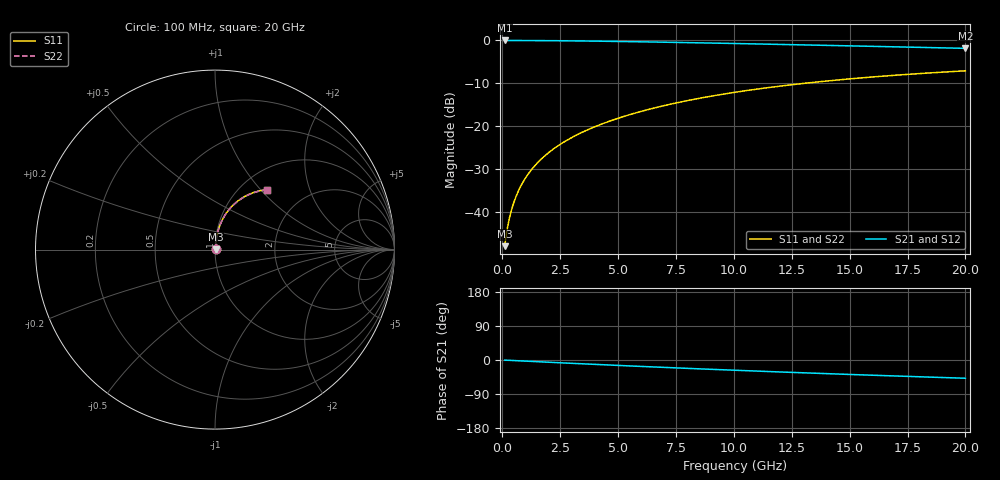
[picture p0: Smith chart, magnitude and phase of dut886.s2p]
! Touchstone file exported from HFSS 2024.1.0
!  File:  C:/UserFiles/LocalFiles/RDL_TSV_Batchsim/temp_RDL_top_886_1779857028.aedt
!  Generated:  12:46:13 PM May 27, 2026
!  Design:  RDL_top
!  Project:  temp_RDL_top_886_1779857028
!  Setup:  Setup1
!  Solution:  Sweep
! Variables:
!  dtsv = 10.80580581um
!  hbump = 3um
!  htsv = 67.46um
!  ldown = 100um
!  lrdl = 678.49um
!  p = 40
!  p1 = 52.99um
!  rhole = 1um
!  t = 450um
!  tdown = 3.915915916um
!  trdl = 4.3um
!  wdown = 15.38538539um
!  wrdl = 19.41um
# GHz S MA R 50.000000
! Terminal data exported
! Port[1] = Box2_T1
! Port[2] = Box2_T2
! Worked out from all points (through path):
!   200 points, 100 MHz to 20 GHz, reference 50 ohm
!   highest |S21| = -0.03 dB at 100 MHz (marker M1); lowest = -1.9 dB at 20 GHz (marker M2)
!   group delay of S21, straight-line fit = 6.65 ps
!   lowest |S11| = -47.9 dB at 100 MHz (marker M3), VSWR 1.01, Z = 50.3 + j0.264 ohm
!   |S11| at or under -10 dB: start of sweep to 13.06 GHz
!   |S22| runs from -47.9 to -7.1 dB; largest |S21 - S12| = 2.3e-14
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0.1  0.004004 41.0  0.997 -0.3  0.997 -0.3  0.004004 41.0
! Gamma 0 0 0 0
! Port Impedance 50 0 50 0
0.2  0.006067 58.4  0.9968 -0.6  0.9968 -0.6  0.006067 58.4
0.3  0.008333 66.4  0.9966 -0.9  0.9966 -0.9  0.008334 66.4
0.4  0.01064 70.9  0.9964 -1.2  0.9964 -1.2  0.01065 70.9
0.5  0.01298 73.8  0.9962 -1.5  0.9962 -1.5  0.01298 73.8
0.6  0.01533 75.9  0.9961 -1.8  0.9961 -1.8  0.01533 75.9
0.8  0.02008 78.5  0.9957 -2.4  0.9957 -2.4  0.02008 78.5
1.1  0.02728 80.7  0.995 -3.3  0.995 -3.3  0.02728 80.6
1.5  0.03696 82.0  0.9937 -4.4  0.9937 -4.4  0.03696 81.9
1.8  0.04427 82.4  0.9926 -5.3  0.9926 -5.3  0.04426 82.3
2.1  0.05161 82.5  0.9912 -6.2  0.9912 -6.2  0.0516 82.5
2.7  0.06636 82.4  0.9881 -7.9  0.9881 -7.9  0.06634 82.4
3.5  0.08617 81.7  0.9829 -10.2  0.9829 -10.2  0.08613 81.7
4.2  0.1036 80.9  0.9776 -12.1  0.9776 -12.1  0.1036 80.8
5  0.1237 79.6  0.9708 -14.3  0.9708 -14.3  0.1236 79.6
5.9  0.1463 78.1  0.9625 -16.7  0.9625 -16.7  0.1462 78.0
6.8  0.1689 76.4  0.9537 -19.1  0.9537 -19.1  0.1687 76.3
8.4  0.2086 73.2  0.9369 -23.1  0.9369 -23.1  0.2084 73.1
10.1  0.2496 69.6  0.9182 -27.2  0.9182 -27.2  0.2492 69.4
13.4  0.3233 62.4  0.8807 -34.7  0.8807 -34.7  0.3227 62.3
16.7  0.3875 55.5  0.8432 -41.7  0.8432 -41.7  0.3867 55.4
20  0.4415 49.1  0.8068 -48.1  0.8068 -48.1  0.4405 49.0
